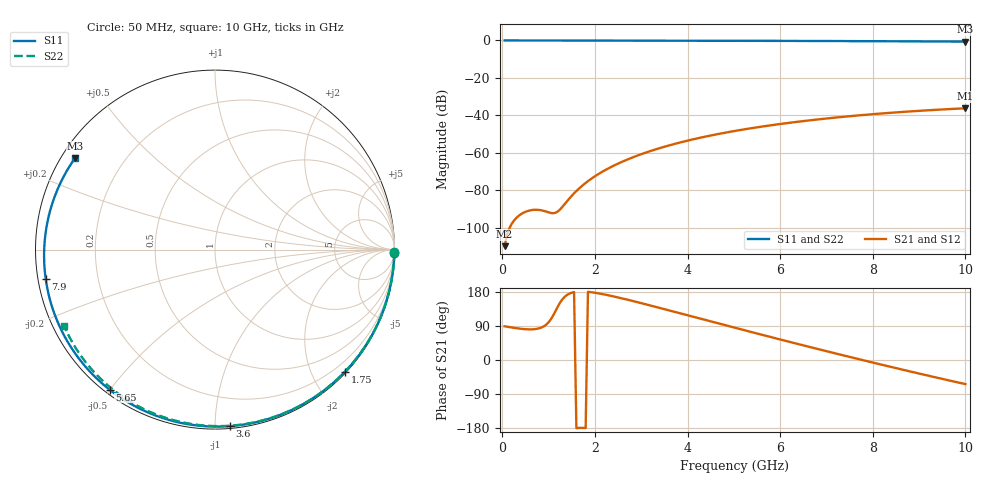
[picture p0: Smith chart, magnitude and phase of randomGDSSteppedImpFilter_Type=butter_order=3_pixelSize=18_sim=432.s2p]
! freq	dB(S11)	phase(S11)	dB(S12)	phase(S12)
!  dB(S21)	phase(S21)	dB(S22)	phase(S22)
!S-par simulation data
#  GHz  S  DB  R 50
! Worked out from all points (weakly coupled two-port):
!   200 points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, 50 MHz to 10 GHz, reference 50 ohm
!   highest |S21| = -36.26 dB at 10 GHz (marker M1); lowest = -110.0 dB at 50 MHz (marker M2)
!   lowest |S11| = -0.6 dB at 10 GHz (marker M3), VSWR 28.30, Z = 1.92 + j14.8 ohm
!   |S11| at or under -10 dB: nowhere
!   |S22| runs from -0.5 to 0.0 dB; largest |S21 - S12| = 0
!   S11 on the Smith chart (normalised r, x): 50 MHz: 1, -93; 1.75 GHz: 0.02, -2.52; 3.6 GHz: 0.01, -1.09; 5.65 GHz: 0.01, -0.50; 7.9 GHz: 0.02, -0.09; 10 GHz: 0.04, +0.30
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0.05  -0.00 -1.2  -109.95 88.9  -109.95 88.9  -0.00 -0.9
0.45  -0.02 -11.3  -92.18 81.8  -92.18 81.8  -0.01 -8.0
0.8  -0.03 -20.1  -90.61 83.7  -90.61 83.7  -0.02 -14.1
1.2  -0.04 -30.0  -91.39 141.2  -91.39 141.2  -0.03 -21.1
1.6  -0.05 -39.7  -80.46 -179.8  -80.46 -179.8  -0.04 -28.1
1.65  -0.05 -40.9  -79.29 -179.2  -79.29 -179.2  -0.04 -28.9
1.75  -0.05 -43.3  -77.13 -179.2  -77.13 -179.2  -0.04 -30.6
2.05  -0.06 -50.4  -71.80 176.5  -71.80 176.5  -0.05 -35.8
2.45  -0.08 -59.7  -66.40 166.5  -66.40 166.5  -0.05 -42.5
2.9  -0.09 -69.9  -61.69 153.1  -61.69 153.1  -0.07 -50.0
3.4  -0.11 -81.0  -57.54 137.4  -57.54 137.4  -0.08 -58.1
3.6  -0.11 -85.3  -56.11 131.0  -56.11 131.0  -0.08 -61.3
4.3  -0.14 -100.0  -51.85 108.4  -51.85 108.4  -0.10 -72.3
5.05  -0.17 -115.2  -48.24 84.2  -48.24 84.2  -0.13 -83.8
5.65  -0.21 -127.0  -45.87 65.2  -45.87 65.2  -0.15 -92.6
6.2  -0.24 -137.6  -44.01 47.9  -44.01 47.9  -0.18 -100.6
6.7  -0.28 -147.1  -42.52 32.4  -42.52 32.4  -0.21 -107.7
7.3  -0.32 -158.6  -40.96 14.2  -40.96 14.2  -0.25 -116.0
7.9  -0.38 -170.1  -39.61 -3.8  -39.61 -3.8  -0.30 -124.3
8.35  -0.42 -178.9  -38.72 -17.0  -38.72 -17.0  -0.34 -130.4
9.2  -0.52 163.9  -37.31 -41.4  -37.31 -41.4  -0.42 -142.0
10  -0.61 146.9  -36.26 -63.6  -36.26 -63.6  -0.52 -153.0
